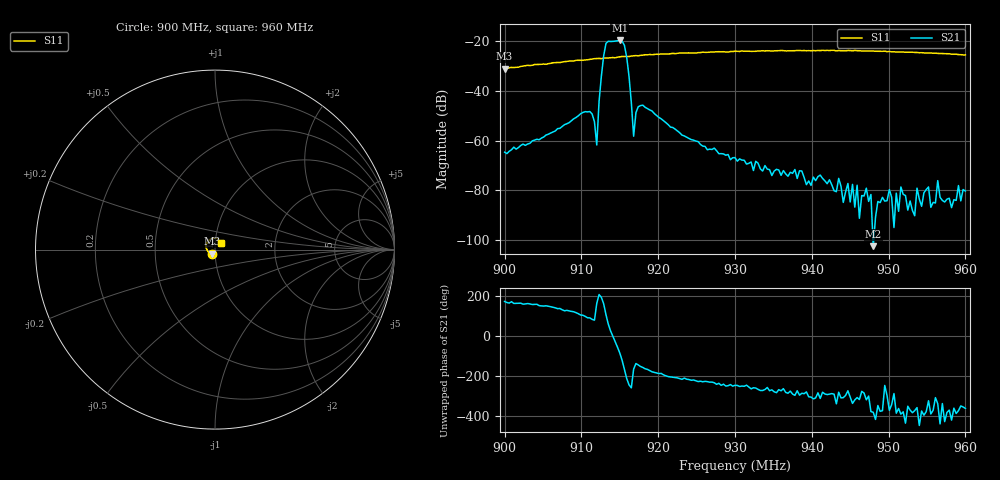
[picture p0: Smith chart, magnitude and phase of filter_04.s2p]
!File created by NanoVNA-F V2
# Hz S RI R 50
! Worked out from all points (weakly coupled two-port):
!   201 points, 900 MHz to 960 MHz, reference 50 ohm
!   highest |S21| = -19.84 dB at 915 MHz (marker M1); lowest = -102.4 dB at 948 MHz (marker M2)
!   lowest |S11| = -31.1 dB at 900 MHz (marker M3), VSWR 1.06, Z = 48.4 - j2.24 ohm
!   |S11| at or under -10 dB: start of sweep to end of sweep
!   S12 and S22 are empty: the file has one direction only
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9e8  -0.0154 -0.0231  -0.000578 9e-05  0 0  0 0
9.102e8  -0.0399 -0.0082  -0.000775 0.00359  0 0  0 0
9.114e8  -0.0427 -0.00592  0.000487 0.00336  0 0  0 0
9.12e8  -0.0439 -0.00405  -0.000773 0.00026  0 0  0 0
9.123e8  -0.0444 -0.00413  -0.00548 -0.00266  0 0  0 0
9.132e8  -0.0455 -0.0016  -0.0233 0.086  0 0  0 0
9.15e8  -0.0477 0.00383  0.00529 -0.1017  0 0  0 0
9.159e8  -0.0482 0.00632  -0.0387 0.0262  0 0  0 0
9.168e8  -0.0494 0.00838  -0.0012 -0.000272  0 0  0 0
9.174e8  -0.049 0.0104  -0.00396 -0.00266  0 0  0 0
9.201e8  -0.0501 0.0187  -0.00287 0.00047  0 0  0 0
9.3e8  -0.0404 0.0469  -0.00017 0.000422  0 0  0 0
9.348e8  -0.0283 0.0558  3e-06 0.000199  0 0  0 0
9.387e8  -0.0196 0.0605  7.6e-05 0.000233  0 0  0 0
9.393e8  -0.0153 0.0615  2.6e-05 0.000128  0 0  0 0
9.402e8  -0.0147 0.0623  0.000133 0.000128  0 0  0 0
9.48e8  0.00879 0.0619  7e-06 -3e-06  0 0  0 0
9.501e8  0.0151 0.0595  0.000101 -2.4e-05  0 0  0 0
9.561e8  0.0294 0.0483  3.6e-05 4.3e-05  0 0  0 0
9.564e8  0.0293 0.0477  0.000148 5.3e-05  0 0  0 0
9.567e8  0.0308 0.0466  1.1e-05 -7.2e-05  0 0  0 0
9.6e8  0.0356 0.0384  9.7e-05 -6e-06  0 0  0 0
